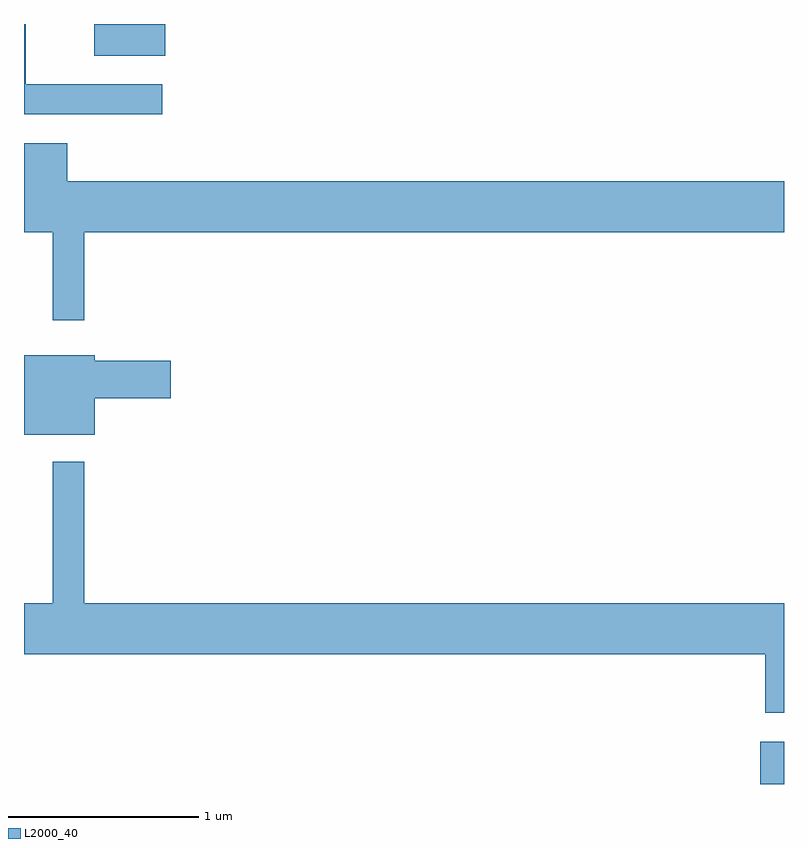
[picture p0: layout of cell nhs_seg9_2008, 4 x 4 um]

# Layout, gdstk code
import gdstk
lib = gdstk.Library(unit=1e-6, precision=1e-09)
def R(c, l, rs):  # rectangles x0, y0, x1, y1
    for r in rs: c.add(gdstk.rectangle(r[:2], r[2:], *l))
def P(c, l, *ps):  # polygons
    for p in ps: c.add(gdstk.Polygon(p, *l))
L2000_40 = (2000, 40)

nhs_seg9_2008 = lib.new_cell('nhs_seg9_2008')
R(nhs_seg9_2008, L2000_40, [(247.486,2024.432,247.611,2024.654), (243.981,2028.266,244.354,2028.432)])
P(nhs_seg9_2008, L2000_40, [(244.338,2028.114),(243.619,2028.114),(243.619,2028.432),(243.611,2028.432),(243.611,2027.956),(244.338,2027.956)],
  [(243.929,2027.336),(247.611,2027.336),(247.611,2027.604),(243.839,2027.604),(243.839,2027.804),(243.611,2027.804),(243.611,2027.336),(243.761,2027.336),(243.761,2026.873),(243.929,2026.873)],
  [(243.984,2026.461),(244.384,2026.461),(244.384,2026.659),(243.984,2026.659),(243.984,2026.689),(243.611,2026.689),(243.611,2026.271),(243.984,2026.271)],
  [(247.611,2025.384),(243.929,2025.384),(243.929,2026.128),(243.761,2026.128),(243.761,2025.384),(243.611,2025.384),(243.611,2025.116),(247.511,2025.116),(247.511,2024.806),(247.611,2024.806)])

lib.write_gds('nhs_seg9_2008.gds')
